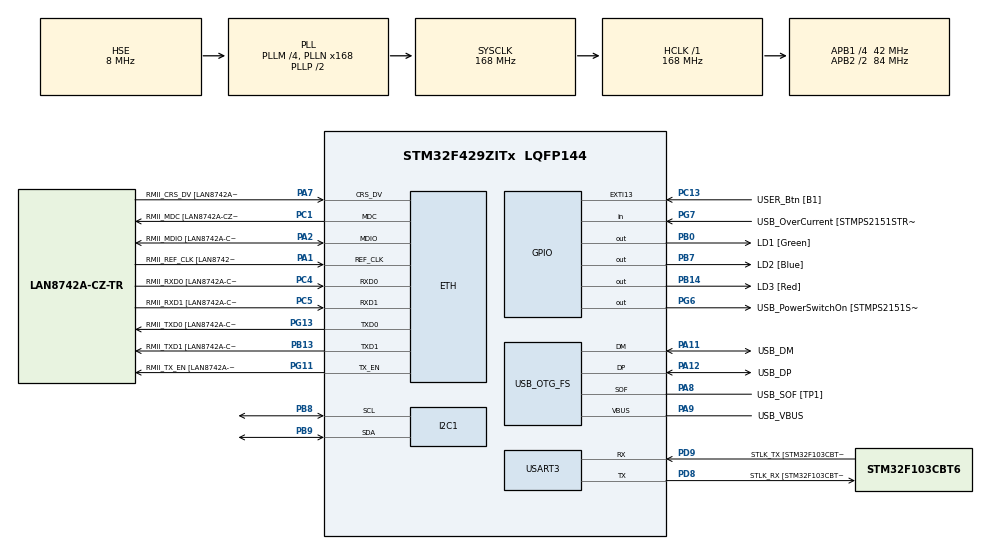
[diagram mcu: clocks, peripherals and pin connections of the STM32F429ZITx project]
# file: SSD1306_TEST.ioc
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Dma.I2C1_TX.0.Direction=DMA_MEMORY_TO_PERIPH
Dma.I2C1_TX.0.FIFOMode=DMA_FIFOMODE_DISABLE
Dma.I2C1_TX.0.Instance=DMA1_Stream6
Dma.I2C1_TX.0.MemDataAlignment=DMA_MDATAALIGN_BYTE
Dma.I2C1_TX.0.MemInc=DMA_MINC_ENABLE
Dma.I2C1_TX.0.Mode=DMA_NORMAL
Dma.I2C1_TX.0.PeriphDataAlignment=DMA_PDATAALIGN_BYTE
Dma.I2C1_TX.0.PeriphInc=DMA_PINC_DISABLE
Dma.I2C1_TX.0.Priority=DMA_PRIORITY_LOW
Dma.Request0=I2C1_TX
ETH.MediaInterface=HAL_ETH_RMII_MODE
ETH.PHY_Name=LAN8742A_PHY_ADDRESS
ETH.PHY_Value=0
ETH.PhyAddress=0
Mcu.Family=STM32F4
Mcu.Name=STM32F429ZITx
Mcu.Package=LQFP144
NVIC.DMA1_Stream6_IRQn=true\:0\:0\:false\:false\:true\:false\:true\:true
NVIC.PriorityGroup=NVIC_PRIORITYGROUP_4
PA1.GPIO_Label=RMII_REF_CLK [LAN8742A-CZ-TR_REFCLK0]
PA1.Mode=RMII
PA1.Signal=ETH_REF_CLK
PA10.GPIO_Label=USB_ID
PA10.Signal=USB_OTG_FS_ID
PA11.GPIO_Label=USB_DM
PA11.Mode=Device_Only
PA11.Signal=USB_OTG_FS_DM
PA12.GPIO_Label=USB_DP
PA12.Mode=Device_Only
PA12.Signal=USB_OTG_FS_DP
PA13.GPIO_Label=TMS
PA13.Mode=Serial_Wire
PA13.Signal=SYS_JTMS-SWDIO
PA14.GPIO_Label=TCK
PA14.Mode=Serial_Wire
PA14.Signal=SYS_JTCK-SWCLK
PA2.GPIO_Label=RMII_MDIO [LAN8742A-CZ-TR_MDIO]
PA2.Mode=RMII
PA2.Signal=ETH_MDIO
PA7.GPIO_Label=RMII_CRS_DV [LAN8742A-CZ-TR_CRS_DV]
PA7.Mode=RMII
PA7.Signal=ETH_CRS_DV
PA8.GPIO_Label=USB_SOF [TP1]
PA8.Mode=Activate_SOF_FS
PA8.Signal=USB_OTG_FS_SOF
PA9.GPIO_Label=USB_VBUS
PA9.Mode=Activate_VBUS
PA9.Signal=USB_OTG_FS_VBUS
PB0.GPIO_Label=LD1 [Green]
PB0.Signal=GPIO_Output
PB13.GPIO_Label=RMII_TXD1 [LAN8742A-CZ-TR_TXD1]
PB13.Mode=RMII
PB13.Signal=ETH_TXD1
PB14.GPIO_Label=LD3 [Red]
PB14.Signal=GPIO_Output
PB7.GPIO_Label=LD2 [Blue]
PB7.Signal=GPIO_Output
PB8.Mode=I2C
PB8.Signal=I2C1_SCL
PB9.Mode=I2C
PB9.Signal=I2C1_SDA
PC1.GPIO_Label=RMII_MDC [LAN8742A-CZ-TR_MDC]
PC1.Mode=RMII
PC1.Signal=ETH_MDC
PC13.GPIO_Label=USER_Btn [B1]
PC13.Signal=GPXTI13
PC14/OSC32_IN.Mode=LSE-External-Oscillator
PC14/OSC32_IN.Signal=RCC_OSC32_IN
PC15/OSC32_OUT.Mode=LSE-External-Oscillator
PC15/OSC32_OUT.Signal=RCC_OSC32_OUT
PC4.GPIO_Label=RMII_RXD0 [LAN8742A-CZ-TR_RXD0]
PC4.Mode=RMII
PC4.Signal=ETH_RXD0
PC5.GPIO_Label=RMII_RXD1 [LAN8742A-CZ-TR_RXD1]
PC5.Mode=RMII
PC5.Signal=ETH_RXD1
PD8.GPIO_Label=STLK_RX [STM32F103CBT6_PA3]
PD8.Mode=Asynchronous
PD8.Signal=USART3_TX
PD9.GPIO_Label=STLK_TX [STM32F103CBT6_PA2]
PD9.Mode=Asynchronous
PD9.Signal=USART3_RX
PG11.GPIO_Label=RMII_TX_EN [LAN8742A-CZ-TR_TXEN]
PG11.Mode=RMII
PG11.Signal=ETH_TX_EN
PG13.GPIO_Label=RMII_TXD0 [LAN8742A-CZ-TR_TXD0]
PG13.Mode=RMII
PG13.Signal=ETH_TXD0
PG6.GPIO_Label=USB_PowerSwitchOn [STMPS2151STR_EN]
PG6.Signal=GPIO_Output
PG7.GPIO_Label=USB_OverCurrent [STMPS2151STR_FAULT]
PG7.Signal=GPIO_Input
PH0/OSC_IN.GPIO_Label=MCO [STM32F103CBT6_PA8]
PH0/OSC_IN.Mode=HSE-External-Clock-Source
PH0/OSC_IN.Signal=RCC_OSC_IN
PH1/OSC_OUT.Mode=HSE-External-Clock-Source
PH1/OSC_OUT.Signal=RCC_OSC_OUT
ProjectManager.HeapSize=0x200
ProjectManager.StackSize=0x400
ProjectManager.TargetToolchain=STM32CubeIDE
RCC.48MHZClocksFreq_Value=48000000
RCC.AHBFreq_Value=168000000
RCC.APB1CLKDivider=RCC_HCLK_DIV4
RCC.APB1Freq_Value=42000000
RCC.APB1TimFreq_Value=84000000
RCC.APB2CLKDivider=RCC_HCLK_DIV2
RCC.APB2Freq_Value=84000000
RCC.APB2TimFreq_Value=168000000
RCC.CortexFreq_Value=168000000
RCC.HCLKFreq_Value=168000000
RCC.HSE_VALUE=8000000
RCC.HSI_VALUE=16000000
RCC.PLLM=4
RCC.PLLMUL=RCC_PLL_MUL9
RCC.PLLN=168
RCC.PLLQ=7
RCC.PRESCALERUSB=RCC_USBCLKSOURCE_PLL_DIV1_5
RCC.SYSCLKFreq_VALUE=168000000
RCC.SYSCLKSource=RCC_SYSCLKSOURCE_PLLCLK
RCC.SYSCLKSourceVirtual=RCC_SYSCLKSOURCE_PLLCLK
RCC.USBFreq_Value=48000000
RCC.VCOOutputFreq_Value=336000000
USART3.VirtualMode=VM_ASYNC
USB_OTG_FS.VirtualMode=Device_Only
board=NUCLEO-F429ZI

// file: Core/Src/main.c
/* USER CODE BEGIN Header */
/**
  ******************************************************************************
  * @file           : main.c
  * @brief          : Main program body
  ******************************************************************************
  * @attention
  *
  * Copyright (c) 2023 STMicroelectronics.
  * All rights reserved.
  *
  * This software is licensed under terms that can be found in the LICENSE file
  * in the root directory of this software component.
  * If no LICENSE file comes with this software, it is provided AS-IS.
  *
  ******************************************************************************
  */
/* USER CODE END Header */
#include "main.h"
#include "string.h"

/* USER CODE BEGIN Includes */
#include "ssd1306.h"
#include "fonts.h"
/* USER CODE END Includes */

/* USER CODE BEGIN PTD */
#define SSD1306_WRITECOMMAND(command)      ssd1306_I2C_Write(SSD1306_I2C_ADDR, 0x00, (command))
/* USER CODE END PTD */

ETH_TxPacketConfig TxConfig;
ETH_DMADescTypeDef  DMARxDscrTab[ETH_RX_DESC_CNT]; /* Ethernet Rx DMA Descriptors */
ETH_DMADescTypeDef  DMATxDscrTab[ETH_TX_DESC_CNT]; /* Ethernet Tx DMA Descriptors */

ETH_HandleTypeDef heth;

I2C_HandleTypeDef hi2c1;
DMA_HandleTypeDef hdma_i2c1_tx;

UART_HandleTypeDef huart3;

PCD_HandleTypeDef hpcd_USB_OTG_FS;

void SystemClock_Config(void);
static void MX_GPIO_Init(void);
static void MX_DMA_Init(void);
static void MX_ETH_Init(void);
static void MX_USART3_UART_Init(void);
static void MX_USB_OTG_FS_PCD_Init(void);
static void MX_I2C1_Init(void);

/* USER CODE BEGIN 0 */
void ssd1306_I2C_WriteMulti(uint8_t address, uint8_t reg, uint8_t* data, uint16_t count);
void ssd1306_I2C_Write(uint8_t address, uint8_t reg, uint8_t data);
/* USER CODE END 0 */

int main(void)
{

  /* MCU Configuration--------------------------------------------------------*/

  /* Reset of all peripherals, Initializes the Flash interface and the Systick. */
  HAL_Init();

  /* Configure the system clock */
  SystemClock_Config();

  /* Initialize all configured peripherals */
  MX_GPIO_Init();
  MX_DMA_Init();
  MX_ETH_Init();
  MX_USART3_UART_Init();
  MX_USB_OTG_FS_PCD_Init();
  MX_I2C1_Init();
  /* USER CODE BEGIN 2 */
  SSD1306_Init();
  //SSD1306_Fill(0);
  HAL_GPIO_WritePin(GPIOB, LD1_Pin, GPIO_PIN_SET);
  HAL_Delay(1000);
  //SSD1306_UpdateScreen();
  //ssd1306_Fill(Black);
  //ssd1306_DrawPixel(x, y, White);
  //        ssd1306_UpdateScreen();
  /* USER CODE END 2 */

  /* Infinite loop */
  while (1)
  {

    /* USER CODE BEGIN 3 */
//	  int32_t i=0;

	  HAL_Delay(1000);
	  SSD1306_WRITECOMMAND(0xAF);
	  SSD1306_Fill(0);
	  SSD1306_GotoXY(0, 4);
	  SSD1306_Puts("SAMJIN LND", &Font_7x10, 1);
	  SSD1306_UpdateScreen();

	  HAL_Delay(1000);
	  SSD1306_Fill(0);
	  SSD1306_GotoXY(5, 4);
	  SSD1306_Puts("KT&G", &Font_7x10, 1);
	  SSD1306_UpdateScreen();

	  HAL_Delay(1000);
	  SSD1306_Fill(0);
	  SSD1306_DrawFilledTriangle(45,0, 0,15, 95,15,1);
	  SSD1306_UpdateScreen();

	  /*
	  HAL_Delay(1000);
	  SSD1306_WRITECOMMAND(0xAF);
	  SSD1306_Fill(0);
	  SSD1306_GotoXY(0, 0);
	  SSD1306_Puts("Font 16", &Font_11x18, 1);
	  SSD1306_UpdateScreen();
	  */
	  /*
	  HAL_Delay(1000);
	  SSD1306_WRITECOMMAND(0xAF);
	  SSD1306_UpdateScreen();
	  SSD1306_Fill(0);

	  HAL_Delay(1000);
	  for(i=0; i<8; i=i+4)
	  {
		  HAL_GPIO_WritePin(GPIOB, LD1_Pin|LD3_Pin|LD2_Pin, GPIO_PIN_RESET);
		  SSD1306_DrawFilledCircle(87, 7, i, 1);
		  SSD1306_UpdateScreen();
		  //SSD1306_Fill(0);
	  }

	  HAL_Delay(1000);
	  for(i=0; i<8; i=i+4)
	  {
		  HAL_GPIO_WritePin(GPIOB, LD3_Pin, GPIO_PIN_SET);
		  SSD1306_DrawFilledCircle(71, 7, i, 1);
		  SSD1306_UpdateScreen();
		  //SSD1306_Fill(0);
	  }
	  HAL_Delay(1000);
	  for(i=0; i<8; i=i+4)
	  {
		  HAL_GPIO_WritePin(GPIOB, LD1_Pin|LD3_Pin|LD2_Pin, GPIO_PIN_RESET);
		  SSD1306_DrawFilledCircle(55, 7, i, 1);
		  SSD1306_UpdateScreen();
		  //SSD1306_Fill(0);
	  }
	  HAL_Delay(1000);
	  for(i=0; i<8; i=i+4)
	  {
		  HAL_GPIO_WritePin(GPIOB, LD3_Pin, GPIO_PIN_SET);
		  SSD1306_DrawFilledCircle(39, 7, i, 1);
		  SSD1306_UpdateScreen();
		  //SSD1306_Fill(0);
	  }

	  HAL_Delay(1000);
	  for(i=0; i<8; i=i+4)
	  {
		  HAL_GPIO_WritePin(GPIOB, LD3_Pin, GPIO_PIN_SET);
		  SSD1306_DrawFilledCircle(23, 7, i, 1);
		  SSD1306_UpdateScreen();
		  //SSD1306_Fill(0);
	  }

	  HAL_Delay(1000);
	  for(i=0; i<8; i=i+4)
	  {
		  HAL_GPIO_WritePin(GPIOB, LD1_Pin|LD3_Pin|LD2_Pin, GPIO_PIN_RESET);
		  SSD1306_DrawFilledCircle(7, 7, i, 1);
		  SSD1306_UpdateScreen();
		  //SSD1306_Fill(0);
	  }
	  SSD1306_UpdateScreen();
	  SSD1306_Fill(0);
	  HAL_Delay(1000);
	  SSD1306_WRITECOMMAND(0xAE);
	  */
		  /*
		  SSD1306_DrawLine(64, 10, 96, i, 1);
		  SSD1306_UpdateScreen();
		  SSD1306_Fill(0);
		  */

		  /*
		  SSD1306_DrawLine(64, i, 96, 1, 1);
		  SSD1306_UpdateScreen();
		  SSD1306_Fill(0);
		  */

	  //SSD1306_DrawLine(0, 0, 96, 1, 1);
	  //SSD1306_UpdateScreen();
	  //SSD1306_Fill(0);
	  /*
	  SSD1306_Fill(0); //clear oled
	  	int y1 = 16, y2 = 0;
	  	while(y1 > 0)
	  	{
	  		SSD1306_DrawLine(0, y1, 96, y2, 1);
	  		SSD1306_UpdateScreen();
	  		y1 -= 2;
	  		y2 += 2;
	  	}
	  	*/
	  /*
	  int32_t i = -100;
	  	char buf[10];
	  	while(i<=100)
	  	{
	  		memset(&buf[0], 0, sizeof(buf));
	  		sprintf(buf, "%d", i);
	  		SSD1306_GotoXY(50,27);
	  		SSD1306_Puts(buf, &Font_7x10, 1);
	  		SSD1306_DrawLine(64, 10, (i+100)*96/200, (i+100)*16/200, 1);
	  		SSD1306_UpdateScreen();
	  		SSD1306_Fill(0); //clear oled
	  		i++;
	  	}

	  SSD1306_Fill(0);
	  //SSD1306_UpdateScreen();
	  //SSD1306_DrawCircle(64, 32, 25, 0);
	  HAL_GPIO_WritePin(GPIOB, LD1_Pin|LD3_Pin|LD2_Pin, GPIO_PIN_RESET);
	  //SSD1306_GotoXY(0,0);
	  //SSD1306_Putc("1", &Font_7x10, 1);
	   */
  }
  /* USER CODE END 3 */
}

void SystemClock_Config(void)
{
  RCC_OscInitTypeDef RCC_OscInitStruct = {0};
  RCC_ClkInitTypeDef RCC_ClkInitStruct = {0};

  /** Configure the main internal regulator output voltage
  */
  __HAL_RCC_PWR_CLK_ENABLE();
  __HAL_PWR_VOLTAGESCALING_CONFIG(PWR_REGULATOR_VOLTAGE_SCALE1);

  /** Initializes the RCC Oscillators according to the specified parameters
  * in the RCC_OscInitTypeDef structure.
  */
  RCC_OscInitStruct.OscillatorType = RCC_OSCILLATORTYPE_HSE;
  RCC_OscInitStruct.HSEState = RCC_HSE_BYPASS;
  RCC_OscInitStruct.PLL.PLLState = RCC_PLL_ON;
  RCC_OscInitStruct.PLL.PLLSource = RCC_PLLSOURCE_HSE;
  RCC_OscInitStruct.PLL.PLLM = 4;
  RCC_OscInitStruct.PLL.PLLN = 168;
  RCC_OscInitStruct.PLL.PLLP = RCC_PLLP_DIV2;
  RCC_OscInitStruct.PLL.PLLQ = 7;
  if (HAL_RCC_OscConfig(&RCC_OscInitStruct) != HAL_OK)
  {
    Error_Handler();
  }

  /** Initializes the CPU, AHB and APB buses clocks
  */
  RCC_ClkInitStruct.ClockType = RCC_CLOCKTYPE_HCLK|RCC_CLOCKTYPE_SYSCLK
                              |RCC_CLOCKTYPE_PCLK1|RCC_CLOCKTYPE_PCLK2;
  RCC_ClkInitStruct.SYSCLKSource = RCC_SYSCLKSOURCE_PLLCLK;
  RCC_ClkInitStruct.AHBCLKDivider = RCC_SYSCLK_DIV1;
  RCC_ClkInitStruct.APB1CLKDivider = RCC_HCLK_DIV4;
  RCC_ClkInitStruct.APB2CLKDivider = RCC_HCLK_DIV2;

  if (HAL_RCC_ClockConfig(&RCC_ClkInitStruct, FLASH_LATENCY_5) != HAL_OK)
  {
    Error_Handler();
  }
}

static void MX_ETH_Init(void)
{

   static uint8_t MACAddr[6];

  heth.Instance = ETH;
  MACAddr[0] = 0x00;
  MACAddr[1] = 0x80;
  MACAddr[2] = 0xE1;
  MACAddr[3] = 0x00;
  MACAddr[4] = 0x00;
  MACAddr[5] = 0x00;
  heth.Init.MACAddr = &MACAddr[0];
  heth.Init.MediaInterface = HAL_ETH_RMII_MODE;
  heth.Init.TxDesc = DMATxDscrTab;
  heth.Init.RxDesc = DMARxDscrTab;
  heth.Init.RxBuffLen = 1524;

  if (HAL_ETH_Init(&heth) != HAL_OK)
  {
    Error_Handler();
  }

  memset(&TxConfig, 0 , sizeof(ETH_TxPacketConfig));
  TxConfig.Attributes = ETH_TX_PACKETS_FEATURES_CSUM | ETH_TX_PACKETS_FEATURES_CRCPAD;
  TxConfig.ChecksumCtrl = ETH_CHECKSUM_IPHDR_PAYLOAD_INSERT_PHDR_CALC;
  TxConfig.CRCPadCtrl = ETH_CRC_PAD_INSERT;

}

static void MX_I2C1_Init(void)
{

  hi2c1.Instance = I2C1;
  hi2c1.Init.ClockSpeed = 100000;
  hi2c1.Init.DutyCycle = I2C_DUTYCYCLE_2;
  hi2c1.Init.OwnAddress1 = 0;
  hi2c1.Init.AddressingMode = I2C_ADDRESSINGMODE_7BIT;
  hi2c1.Init.DualAddressMode = I2C_DUALADDRESS_DISABLE;
  hi2c1.Init.OwnAddress2 = 0;
  hi2c1.Init.GeneralCallMode = I2C_GENERALCALL_DISABLE;
  hi2c1.Init.NoStretchMode = I2C_NOSTRETCH_DISABLE;
  if (HAL_I2C_Init(&hi2c1) != HAL_OK)
  {
    Error_Handler();
  }

  /** Configure Analogue filter
  */
  if (HAL_I2CEx_ConfigAnalogFilter(&hi2c1, I2C_ANALOGFILTER_ENABLE) != HAL_OK)
  {
    Error_Handler();
  }

  /** Configure Digital filter
  */
  if (HAL_I2CEx_ConfigDigitalFilter(&hi2c1, 0) != HAL_OK)
  {
    Error_Handler();
  }

}

static void MX_USART3_UART_Init(void)
{

  huart3.Instance = USART3;
  huart3.Init.BaudRate = 115200;
  huart3.Init.WordLength = UART_WORDLENGTH_8B;
  huart3.Init.StopBits = UART_STOPBITS_1;
  huart3.Init.Parity = UART_PARITY_NONE;
  huart3.Init.Mode = UART_MODE_TX_RX;
  huart3.Init.HwFlowCtl = UART_HWCONTROL_NONE;
  huart3.Init.OverSampling = UART_OVERSAMPLING_16;
  if (HAL_UART_Init(&huart3) != HAL_OK)
  {
    Error_Handler();
  }

}

static void MX_USB_OTG_FS_PCD_Init(void)
{

  hpcd_USB_OTG_FS.Instance = USB_OTG_FS;
  hpcd_USB_OTG_FS.Init.dev_endpoints = 4;
  hpcd_USB_OTG_FS.Init.speed = PCD_SPEED_FULL;
  hpcd_USB_OTG_FS.Init.dma_enable = DISABLE;
  hpcd_USB_OTG_FS.Init.phy_itface = PCD_PHY_EMBEDDED;
  hpcd_USB_OTG_FS.Init.Sof_enable = ENABLE;
  hpcd_USB_OTG_FS.Init.low_power_enable = DISABLE;
  hpcd_USB_OTG_FS.Init.lpm_enable = DISABLE;
  hpcd_USB_OTG_FS.Init.vbus_sensing_enable = ENABLE;
  hpcd_USB_OTG_FS.Init.use_dedicated_ep1 = DISABLE;
  if (HAL_PCD_Init(&hpcd_USB_OTG_FS) != HAL_OK)
  {
    Error_Handler();
  }

}

static void MX_DMA_Init(void)
{

  /* DMA controller clock enable */
  __HAL_RCC_DMA1_CLK_ENABLE();

  /* DMA interrupt init */
  /* DMA1_Stream6_IRQn interrupt configuration */
  HAL_NVIC_SetPriority(DMA1_Stream6_IRQn, 0, 0);
  HAL_NVIC_EnableIRQ(DMA1_Stream6_IRQn);

}

static void MX_GPIO_Init(void)
{
  GPIO_InitTypeDef GPIO_InitStruct = {0};

  /* GPIO Ports Clock Enable */
  __HAL_RCC_GPIOC_CLK_ENABLE();
  __HAL_RCC_GPIOH_CLK_ENABLE();
  __HAL_RCC_GPIOA_CLK_ENABLE();
  __HAL_RCC_GPIOB_CLK_ENABLE();
  __HAL_RCC_GPIOD_CLK_ENABLE();
  __HAL_RCC_GPIOG_CLK_ENABLE();

  /*Configure GPIO pin Output Level */
  HAL_GPIO_WritePin(GPIOB, LD1_Pin|LD3_Pin|LD2_Pin, GPIO_PIN_RESET);

  /*Configure GPIO pin Output Level */
  HAL_GPIO_WritePin(USB_PowerSwitchOn_GPIO_Port, USB_PowerSwitchOn_Pin, GPIO_PIN_RESET);

  /*Configure GPIO pin : USER_Btn_Pin */
  GPIO_InitStruct.Pin = USER_Btn_Pin;
  GPIO_InitStruct.Mode = GPIO_MODE_IT_RISING;
  GPIO_InitStruct.Pull = GPIO_NOPULL;
  HAL_GPIO_Init(USER_Btn_GPIO_Port, &GPIO_InitStruct);

  /*Configure GPIO pins : LD1_Pin LD3_Pin LD2_Pin */
  GPIO_InitStruct.Pin = LD1_Pin|LD3_Pin|LD2_Pin;
  GPIO_InitStruct.Mode = GPIO_MODE_OUTPUT_PP;
  GPIO_InitStruct.Pull = GPIO_NOPULL;
  GPIO_InitStruct.Speed = GPIO_SPEED_FREQ_LOW;
  HAL_GPIO_Init(GPIOB, &GPIO_InitStruct);

  /*Configure GPIO pin : USB_PowerSwitchOn_Pin */
  GPIO_InitStruct.Pin = USB_PowerSwitchOn_Pin;
  GPIO_InitStruct.Mode = GPIO_MODE_OUTPUT_PP;
  GPIO_InitStruct.Pull = GPIO_NOPULL;
  GPIO_InitStruct.Speed = GPIO_SPEED_FREQ_LOW;
  HAL_GPIO_Init(USB_PowerSwitchOn_GPIO_Port, &GPIO_InitStruct);

  /*Configure GPIO pin : USB_OverCurrent_Pin */
  GPIO_InitStruct.Pin = USB_OverCurrent_Pin;
  GPIO_InitStruct.Mode = GPIO_MODE_INPUT;
  GPIO_InitStruct.Pull = GPIO_NOPULL;
  HAL_GPIO_Init(USB_OverCurrent_GPIO_Port, &GPIO_InitStruct);

}

/* USER CODE BEGIN 4 */

void ssd1306_I2C_WriteMulti(uint8_t address, uint8_t reg, uint8_t* data, uint16_t count) {
	uint8_t dt[count + 1];
	dt[0] = reg;
	uint8_t i;
	for(i = 1; i <= count; i++)
		dt[i] = data[i-1];
	HAL_I2C_Master_Transmit(&hi2c1, address, dt, count, 10);
}

void ssd1306_I2C_Write(uint8_t address, uint8_t reg, uint8_t data) {
	uint8_t dt[2];
	dt[0] = reg;
	dt[1] = data;
	HAL_I2C_Master_Transmit(&hi2c1, address, dt, 2, 10);
}
/* USER CODE END 4 */

void Error_Handler(void)
{
  __disable_irq();
  while (1)
  {
  }
}
